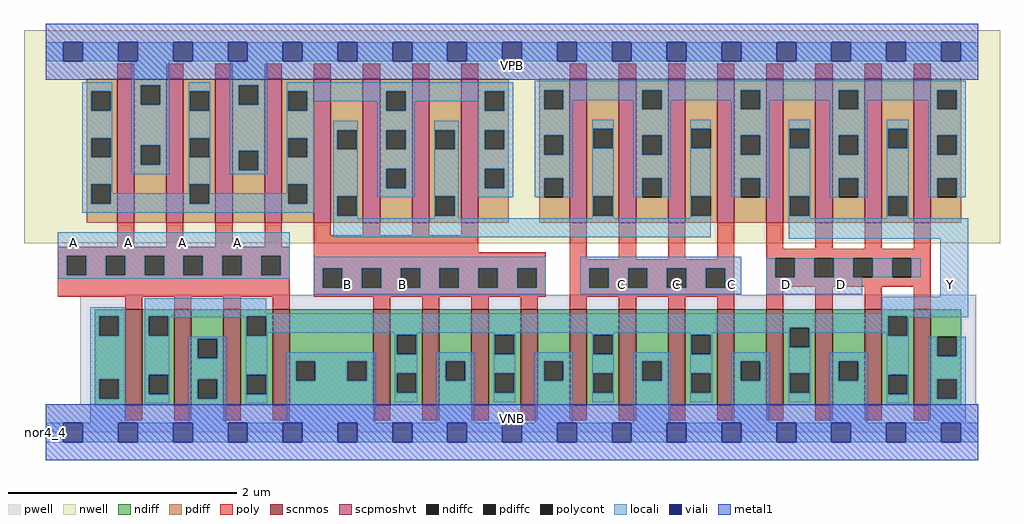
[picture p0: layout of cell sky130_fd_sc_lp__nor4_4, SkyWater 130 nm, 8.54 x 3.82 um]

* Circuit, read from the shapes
.subckt sky130_fd_sc_lp__nor4_4 A B C D VGND VNB VPB VPWR Y
XM1 Y A VGND VNB sky130_fd_pr__nfet_01v8 w=0.84 l=0.15 m=4
XM2 Y B VGND VNB sky130_fd_pr__nfet_01v8 w=0.84 l=0.15 m=4
XM3 Y C VGND VNB sky130_fd_pr__nfet_01v8 w=0.84 l=0.15 m=4
XM4 Y D VGND VNB sky130_fd_pr__nfet_01v8 w=0.84 l=0.15 m=4
XM5 VPWR A n1 VPB sky130_fd_pr__pfet_01v8_hvt w=1.26 l=0.15 m=4
XM6 n2 B n1 VPB sky130_fd_pr__pfet_01v8_hvt w=1.26 l=0.15 m=4
XM7 n2 C n3 VPB sky130_fd_pr__pfet_01v8_hvt w=1.26 l=0.15 m=4
XM8 Y D n3 VPB sky130_fd_pr__pfet_01v8_hvt w=1.26 l=0.15 m=4
.ends

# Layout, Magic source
magic
tech sky130A
magscale 1 2
<< nwell >>
rect -38 331 1670 704
<< pwell >>
rect 60 49 1628 241
rect 0 0 1632 49
<< scnmos >>
rect 139 47 169 215
rect 225 47 255 215
rect 311 47 341 215
rect 397 47 427 215
rect 573 47 603 215
rect 659 47 689 215
rect 745 47 775 215
rect 831 47 861 215
rect 917 47 947 215
rect 1003 47 1033 215
rect 1089 47 1119 215
rect 1175 47 1205 215
rect 1261 47 1291 215
rect 1347 47 1377 215
rect 1433 47 1463 215
rect 1519 47 1549 215
<< scpmoshvt >>
rect 125 367 155 619
rect 211 367 241 619
rect 297 367 327 619
rect 383 367 413 619
rect 469 367 499 619
rect 555 367 585 619
rect 641 367 671 619
rect 727 367 757 619
rect 917 367 947 619
rect 1003 367 1033 619
rect 1089 367 1119 619
rect 1175 367 1205 619
rect 1261 367 1291 619
rect 1347 367 1377 619
rect 1433 367 1463 619
rect 1519 367 1549 619
<< ndiff >>
rect 86 203 139 215
rect 86 169 94 203
rect 128 169 139 203
rect 86 93 139 169
rect 86 59 94 93
rect 128 59 139 93
rect 86 47 139 59
rect 169 203 225 215
rect 169 169 180 203
rect 214 169 225 203
rect 169 101 225 169
rect 169 67 180 101
rect 214 67 225 101
rect 169 47 225 67
rect 255 164 311 215
rect 255 130 266 164
rect 300 130 311 164
rect 255 93 311 130
rect 255 59 266 93
rect 300 59 311 93
rect 255 47 311 59
rect 341 203 397 215
rect 341 169 352 203
rect 386 169 397 203
rect 341 101 397 169
rect 341 67 352 101
rect 386 67 397 101
rect 341 47 397 67
rect 427 124 573 215
rect 427 90 438 124
rect 472 90 528 124
rect 562 90 573 124
rect 427 47 573 90
rect 603 171 659 215
rect 603 137 614 171
rect 648 137 659 171
rect 603 103 659 137
rect 603 69 614 103
rect 648 69 659 103
rect 603 47 659 69
rect 689 124 745 215
rect 689 90 700 124
rect 734 90 745 124
rect 689 47 745 90
rect 775 171 831 215
rect 775 137 786 171
rect 820 137 831 171
rect 775 103 831 137
rect 775 69 786 103
rect 820 69 831 103
rect 775 47 831 69
rect 861 124 917 215
rect 861 90 872 124
rect 906 90 917 124
rect 861 47 917 90
rect 947 171 1003 215
rect 947 137 958 171
rect 992 137 1003 171
rect 947 103 1003 137
rect 947 69 958 103
rect 992 69 1003 103
rect 947 47 1003 69
rect 1033 124 1089 215
rect 1033 90 1044 124
rect 1078 90 1089 124
rect 1033 47 1089 90
rect 1119 171 1175 215
rect 1119 137 1130 171
rect 1164 137 1175 171
rect 1119 103 1175 137
rect 1119 69 1130 103
rect 1164 69 1175 103
rect 1119 47 1175 69
rect 1205 124 1261 215
rect 1205 90 1216 124
rect 1250 90 1261 124
rect 1205 47 1261 90
rect 1291 183 1347 215
rect 1291 149 1302 183
rect 1336 149 1347 183
rect 1291 103 1347 149
rect 1291 69 1302 103
rect 1336 69 1347 103
rect 1291 47 1347 69
rect 1377 124 1433 215
rect 1377 90 1388 124
rect 1422 90 1433 124
rect 1377 47 1433 90
rect 1463 203 1519 215
rect 1463 169 1474 203
rect 1508 169 1519 203
rect 1463 101 1519 169
rect 1463 67 1474 101
rect 1508 67 1519 101
rect 1463 47 1519 67
rect 1549 167 1602 215
rect 1549 133 1560 167
rect 1594 133 1602 167
rect 1549 93 1602 133
rect 1549 59 1560 93
rect 1594 59 1602 93
rect 1549 47 1602 59
<< pdiff >>
rect 72 597 125 619
rect 72 563 80 597
rect 114 563 125 597
rect 72 515 125 563
rect 72 481 80 515
rect 114 481 125 515
rect 72 434 125 481
rect 72 400 80 434
rect 114 400 125 434
rect 72 367 125 400
rect 155 607 211 619
rect 155 573 166 607
rect 200 573 211 607
rect 155 502 211 573
rect 155 468 166 502
rect 200 468 211 502
rect 155 367 211 468
rect 241 597 297 619
rect 241 563 252 597
rect 286 563 297 597
rect 241 515 297 563
rect 241 481 252 515
rect 286 481 297 515
rect 241 434 297 481
rect 241 400 252 434
rect 286 400 297 434
rect 241 367 297 400
rect 327 607 383 619
rect 327 573 338 607
rect 372 573 383 607
rect 327 493 383 573
rect 327 459 338 493
rect 372 459 383 493
rect 327 367 383 459
rect 413 597 469 619
rect 413 563 424 597
rect 458 563 469 597
rect 413 515 469 563
rect 413 481 424 515
rect 458 481 469 515
rect 413 434 469 481
rect 413 400 424 434
rect 458 400 469 434
rect 413 367 469 400
rect 499 529 555 619
rect 499 495 510 529
rect 544 495 555 529
rect 499 413 555 495
rect 499 379 510 413
rect 544 379 555 413
rect 499 367 555 379
rect 585 597 641 619
rect 585 563 596 597
rect 630 563 641 597
rect 585 529 641 563
rect 585 495 596 529
rect 630 495 641 529
rect 585 461 641 495
rect 585 427 596 461
rect 630 427 641 461
rect 585 367 641 427
rect 671 529 727 619
rect 671 495 682 529
rect 716 495 727 529
rect 671 413 727 495
rect 671 379 682 413
rect 716 379 727 413
rect 671 367 727 379
rect 757 597 810 619
rect 757 563 768 597
rect 802 563 810 597
rect 757 529 810 563
rect 757 495 768 529
rect 802 495 810 529
rect 757 461 810 495
rect 757 427 768 461
rect 802 427 810 461
rect 757 367 810 427
rect 864 599 917 619
rect 864 565 872 599
rect 906 565 917 599
rect 864 520 917 565
rect 864 486 872 520
rect 906 486 917 520
rect 864 445 917 486
rect 864 411 872 445
rect 906 411 917 445
rect 864 367 917 411
rect 947 531 1003 619
rect 947 497 958 531
rect 992 497 1003 531
rect 947 413 1003 497
rect 947 379 958 413
rect 992 379 1003 413
rect 947 367 1003 379
rect 1033 599 1089 619
rect 1033 565 1044 599
rect 1078 565 1089 599
rect 1033 520 1089 565
rect 1033 486 1044 520
rect 1078 486 1089 520
rect 1033 445 1089 486
rect 1033 411 1044 445
rect 1078 411 1089 445
rect 1033 367 1089 411
rect 1119 531 1175 619
rect 1119 497 1130 531
rect 1164 497 1175 531
rect 1119 413 1175 497
rect 1119 379 1130 413
rect 1164 379 1175 413
rect 1119 367 1175 379
rect 1205 599 1261 619
rect 1205 565 1216 599
rect 1250 565 1261 599
rect 1205 520 1261 565
rect 1205 486 1216 520
rect 1250 486 1261 520
rect 1205 445 1261 486
rect 1205 411 1216 445
rect 1250 411 1261 445
rect 1205 367 1261 411
rect 1291 531 1347 619
rect 1291 497 1302 531
rect 1336 497 1347 531
rect 1291 413 1347 497
rect 1291 379 1302 413
rect 1336 379 1347 413
rect 1291 367 1347 379
rect 1377 599 1433 619
rect 1377 565 1388 599
rect 1422 565 1433 599
rect 1377 520 1433 565
rect 1377 486 1388 520
rect 1422 486 1433 520
rect 1377 445 1433 486
rect 1377 411 1388 445
rect 1422 411 1433 445
rect 1377 367 1433 411
rect 1463 531 1519 619
rect 1463 497 1474 531
rect 1508 497 1519 531
rect 1463 413 1519 497
rect 1463 379 1474 413
rect 1508 379 1519 413
rect 1463 367 1519 379
rect 1549 599 1602 619
rect 1549 565 1560 599
rect 1594 565 1602 599
rect 1549 520 1602 565
rect 1549 486 1560 520
rect 1594 486 1602 520
rect 1549 445 1602 486
rect 1549 411 1560 445
rect 1594 411 1602 445
rect 1549 367 1602 411
<< ndiffc >>
rect 94 169 128 203
rect 94 59 128 93
rect 180 169 214 203
rect 180 67 214 101
rect 266 130 300 164
rect 266 59 300 93
rect 352 169 386 203
rect 352 67 386 101
rect 438 90 472 124
rect 528 90 562 124
rect 614 137 648 171
rect 614 69 648 103
rect 700 90 734 124
rect 786 137 820 171
rect 786 69 820 103
rect 872 90 906 124
rect 958 137 992 171
rect 958 69 992 103
rect 1044 90 1078 124
rect 1130 137 1164 171
rect 1130 69 1164 103
rect 1216 90 1250 124
rect 1302 149 1336 183
rect 1302 69 1336 103
rect 1388 90 1422 124
rect 1474 169 1508 203
rect 1474 67 1508 101
rect 1560 133 1594 167
rect 1560 59 1594 93
<< pdiffc >>
rect 80 563 114 597
rect 80 481 114 515
rect 80 400 114 434
rect 166 573 200 607
rect 166 468 200 502
rect 252 563 286 597
rect 252 481 286 515
rect 252 400 286 434
rect 338 573 372 607
rect 338 459 372 493
rect 424 563 458 597
rect 424 481 458 515
rect 424 400 458 434
rect 510 495 544 529
rect 510 379 544 413
rect 596 563 630 597
rect 596 495 630 529
rect 596 427 630 461
rect 682 495 716 529
rect 682 379 716 413
rect 768 563 802 597
rect 768 495 802 529
rect 768 427 802 461
rect 872 565 906 599
rect 872 486 906 520
rect 872 411 906 445
rect 958 497 992 531
rect 958 379 992 413
rect 1044 565 1078 599
rect 1044 486 1078 520
rect 1044 411 1078 445
rect 1130 497 1164 531
rect 1130 379 1164 413
rect 1216 565 1250 599
rect 1216 486 1250 520
rect 1216 411 1250 445
rect 1302 497 1336 531
rect 1302 379 1336 413
rect 1388 565 1422 599
rect 1388 486 1422 520
rect 1388 411 1422 445
rect 1474 497 1508 531
rect 1474 379 1508 413
rect 1560 565 1594 599
rect 1560 486 1594 520
rect 1560 411 1594 445
<< poly >>
rect 125 619 155 645
rect 211 619 241 645
rect 297 619 327 645
rect 383 619 413 645
rect 469 619 499 645
rect 555 619 585 645
rect 641 619 671 645
rect 727 619 757 645
rect 917 619 947 645
rect 1003 619 1033 645
rect 1089 619 1119 645
rect 1175 619 1205 645
rect 1261 619 1291 645
rect 1347 619 1377 645
rect 1433 619 1463 645
rect 1519 619 1549 645
rect 125 325 155 367
rect 211 325 241 367
rect 297 325 327 367
rect 383 325 413 367
rect 469 345 499 367
rect 555 345 585 367
rect 641 345 671 367
rect 727 345 757 367
rect 21 309 427 325
rect 21 275 37 309
rect 71 275 105 309
rect 139 275 173 309
rect 207 275 241 309
rect 275 275 309 309
rect 343 275 377 309
rect 411 275 427 309
rect 21 237 427 275
rect 469 315 757 345
rect 469 287 875 315
rect 469 253 485 287
rect 519 253 553 287
rect 587 253 621 287
rect 655 253 689 287
rect 723 253 757 287
rect 791 253 825 287
rect 859 253 875 287
rect 469 237 875 253
rect 917 303 947 367
rect 1003 303 1033 367
rect 1089 303 1119 367
rect 1175 303 1205 367
rect 917 287 1205 303
rect 917 253 951 287
rect 985 253 1019 287
rect 1053 253 1087 287
rect 1121 253 1155 287
rect 1189 253 1205 287
rect 917 237 1205 253
rect 139 215 169 237
rect 225 215 255 237
rect 311 215 341 237
rect 397 215 427 237
rect 573 215 603 237
rect 659 215 689 237
rect 745 215 775 237
rect 831 215 861 237
rect 917 215 947 237
rect 1003 215 1033 237
rect 1089 215 1119 237
rect 1175 215 1205 237
rect 1261 321 1291 367
rect 1347 321 1377 367
rect 1433 321 1463 367
rect 1519 321 1549 367
rect 1261 305 1549 321
rect 1261 271 1277 305
rect 1311 271 1345 305
rect 1379 271 1413 305
rect 1447 271 1481 305
rect 1515 271 1549 305
rect 1261 255 1549 271
rect 1261 215 1291 255
rect 1347 215 1377 255
rect 1433 215 1463 255
rect 1519 215 1549 255
rect 139 21 169 47
rect 225 21 255 47
rect 311 21 341 47
rect 397 21 427 47
rect 573 21 603 47
rect 659 21 689 47
rect 745 21 775 47
rect 831 21 861 47
rect 917 21 947 47
rect 1003 21 1033 47
rect 1089 21 1119 47
rect 1175 21 1205 47
rect 1261 21 1291 47
rect 1347 21 1377 47
rect 1433 21 1463 47
rect 1519 21 1549 47
<< polycont >>
rect 37 275 71 309
rect 105 275 139 309
rect 173 275 207 309
rect 241 275 275 309
rect 309 275 343 309
rect 377 275 411 309
rect 485 253 519 287
rect 553 253 587 287
rect 621 253 655 287
rect 689 253 723 287
rect 757 253 791 287
rect 825 253 859 287
rect 951 253 985 287
rect 1019 253 1053 287
rect 1087 253 1121 287
rect 1155 253 1189 287
rect 1277 271 1311 305
rect 1345 271 1379 305
rect 1413 271 1447 305
rect 1481 271 1515 305
<< locali >>
rect 0 649 31 683
rect 65 649 127 683
rect 161 649 223 683
rect 257 649 319 683
rect 353 649 415 683
rect 449 649 511 683
rect 545 649 607 683
rect 641 649 703 683
rect 737 649 799 683
rect 833 649 895 683
rect 929 649 991 683
rect 1025 649 1087 683
rect 1121 649 1183 683
rect 1217 649 1279 683
rect 1313 649 1375 683
rect 1409 649 1471 683
rect 1505 649 1567 683
rect 1601 649 1632 683
rect 64 597 116 613
rect 64 563 80 597
rect 114 563 116 597
rect 64 515 116 563
rect 64 481 80 515
rect 114 481 116 515
rect 64 434 116 481
rect 150 607 216 649
rect 150 573 166 607
rect 200 573 216 607
rect 150 502 216 573
rect 150 468 166 502
rect 200 468 216 502
rect 150 452 216 468
rect 250 597 288 613
rect 250 563 252 597
rect 286 563 288 597
rect 250 515 288 563
rect 250 481 252 515
rect 286 481 288 515
rect 64 400 80 434
rect 114 418 116 434
rect 250 434 288 481
rect 322 607 388 649
rect 322 573 338 607
rect 372 573 388 607
rect 322 493 388 573
rect 322 459 338 493
rect 372 459 388 493
rect 322 452 388 459
rect 422 597 818 613
rect 422 563 424 597
rect 458 579 596 597
rect 458 563 469 579
rect 422 515 469 563
rect 580 563 596 579
rect 630 579 768 597
rect 630 563 646 579
rect 422 481 424 515
rect 458 481 469 515
rect 250 418 252 434
rect 114 400 252 418
rect 286 418 288 434
rect 422 434 469 481
rect 422 418 424 434
rect 286 400 424 418
rect 458 400 469 434
rect 64 384 469 400
rect 503 529 546 545
rect 503 495 510 529
rect 544 495 546 529
rect 503 413 546 495
rect 503 379 510 413
rect 544 379 546 413
rect 580 529 646 563
rect 757 563 768 579
rect 802 563 818 597
rect 580 495 596 529
rect 630 495 646 529
rect 580 461 646 495
rect 580 427 596 461
rect 630 427 646 461
rect 580 411 646 427
rect 680 529 723 545
rect 680 495 682 529
rect 716 495 723 529
rect 680 413 723 495
rect 503 375 546 379
rect 680 379 682 413
rect 716 379 723 413
rect 757 529 818 563
rect 757 495 768 529
rect 802 495 818 529
rect 757 461 818 495
rect 757 427 768 461
rect 802 427 818 461
rect 757 411 818 427
rect 856 599 1610 615
rect 856 565 872 599
rect 906 581 1044 599
rect 906 565 922 581
rect 856 520 922 565
rect 1028 565 1044 581
rect 1078 581 1216 599
rect 1078 565 1094 581
rect 856 486 872 520
rect 906 486 922 520
rect 856 445 922 486
rect 856 411 872 445
rect 906 411 922 445
rect 956 531 994 547
rect 956 497 958 531
rect 992 497 994 531
rect 956 413 994 497
rect 680 375 723 379
rect 956 379 958 413
rect 992 379 994 413
rect 1028 520 1094 565
rect 1200 565 1216 581
rect 1250 581 1388 599
rect 1250 565 1266 581
rect 1028 486 1044 520
rect 1078 486 1094 520
rect 1028 445 1094 486
rect 1028 411 1044 445
rect 1078 411 1094 445
rect 1128 531 1164 547
rect 1128 497 1130 531
rect 1128 413 1164 497
rect 956 375 994 379
rect 1128 379 1130 413
rect 1200 520 1266 565
rect 1372 565 1388 581
rect 1422 581 1560 599
rect 1422 565 1438 581
rect 1200 486 1216 520
rect 1250 486 1266 520
rect 1200 445 1266 486
rect 1200 411 1216 445
rect 1250 411 1266 445
rect 1300 531 1338 547
rect 1300 497 1302 531
rect 1336 497 1338 531
rect 1300 413 1338 497
rect 1128 375 1164 379
rect 21 309 427 350
rect 503 341 1164 375
rect 1300 379 1302 413
rect 1336 379 1338 413
rect 1372 520 1438 565
rect 1544 565 1560 581
rect 1594 565 1610 599
rect 1372 486 1388 520
rect 1422 486 1438 520
rect 1372 445 1438 486
rect 1372 411 1388 445
rect 1422 411 1438 445
rect 1472 531 1510 547
rect 1472 497 1474 531
rect 1508 497 1510 531
rect 1472 413 1510 497
rect 1300 375 1338 379
rect 1472 379 1474 413
rect 1508 379 1510 413
rect 1544 520 1610 565
rect 1544 486 1560 520
rect 1594 486 1610 520
rect 1544 445 1610 486
rect 1544 411 1560 445
rect 1594 411 1610 445
rect 1472 375 1510 379
rect 1300 339 1614 375
rect 21 275 37 309
rect 71 275 105 309
rect 139 275 173 309
rect 207 275 241 309
rect 275 275 309 309
rect 343 275 377 309
rect 411 275 427 309
rect 21 269 427 275
rect 469 287 875 307
rect 469 253 485 287
rect 519 253 553 287
rect 587 253 621 287
rect 655 253 689 287
rect 723 253 757 287
rect 791 253 825 287
rect 859 253 875 287
rect 469 242 875 253
rect 935 287 1217 307
rect 935 253 951 287
rect 985 253 1019 287
rect 1053 253 1087 287
rect 1121 253 1155 287
rect 1189 253 1217 287
rect 935 242 1217 253
rect 1261 271 1277 305
rect 1311 271 1345 305
rect 1379 271 1413 305
rect 1447 271 1481 305
rect 1515 271 1531 305
rect 1261 242 1429 271
rect 1565 237 1614 339
rect 78 203 139 219
rect 78 169 94 203
rect 128 169 139 203
rect 78 93 139 169
rect 78 59 94 93
rect 128 59 139 93
rect 78 17 139 59
rect 173 208 386 235
rect 1463 208 1614 237
rect 173 203 1614 208
rect 173 169 180 203
rect 214 201 352 203
rect 214 169 216 201
rect 173 101 216 169
rect 350 169 352 201
rect 386 183 1474 203
rect 386 174 1302 183
rect 386 169 388 174
rect 173 67 180 101
rect 214 67 216 101
rect 173 51 216 67
rect 250 164 316 167
rect 250 130 266 164
rect 300 130 316 164
rect 250 93 316 130
rect 250 59 266 93
rect 300 59 316 93
rect 250 17 316 59
rect 350 101 388 169
rect 611 171 650 174
rect 350 67 352 101
rect 386 67 388 101
rect 350 51 388 67
rect 422 124 577 140
rect 422 90 438 124
rect 472 90 528 124
rect 562 90 577 124
rect 422 17 577 90
rect 611 137 614 171
rect 648 137 650 171
rect 784 171 822 174
rect 611 103 650 137
rect 611 69 614 103
rect 648 69 650 103
rect 611 53 650 69
rect 684 124 750 140
rect 684 90 700 124
rect 734 90 750 124
rect 684 17 750 90
rect 784 137 786 171
rect 820 137 822 171
rect 956 171 994 174
rect 784 103 822 137
rect 784 69 786 103
rect 820 69 822 103
rect 784 53 822 69
rect 856 124 922 140
rect 856 90 872 124
rect 906 90 922 124
rect 856 17 922 90
rect 956 137 958 171
rect 992 137 994 171
rect 1128 171 1166 174
rect 956 103 994 137
rect 956 69 958 103
rect 992 69 994 103
rect 956 53 994 69
rect 1028 124 1094 140
rect 1028 90 1044 124
rect 1078 90 1094 124
rect 1028 17 1094 90
rect 1128 137 1130 171
rect 1164 137 1166 171
rect 1300 149 1302 174
rect 1336 174 1474 183
rect 1336 149 1338 174
rect 1128 103 1166 137
rect 1128 69 1130 103
rect 1164 69 1166 103
rect 1128 53 1166 69
rect 1200 124 1266 140
rect 1200 90 1216 124
rect 1250 90 1266 124
rect 1200 17 1266 90
rect 1300 103 1338 149
rect 1472 169 1474 174
rect 1508 201 1614 203
rect 1508 169 1510 201
rect 1300 69 1302 103
rect 1336 69 1338 103
rect 1300 53 1338 69
rect 1372 124 1438 140
rect 1372 90 1388 124
rect 1422 90 1438 124
rect 1372 17 1438 90
rect 1472 101 1510 169
rect 1472 67 1474 101
rect 1508 67 1510 101
rect 1472 51 1510 67
rect 1544 133 1560 167
rect 1594 133 1610 167
rect 1544 93 1610 133
rect 1544 59 1560 93
rect 1594 59 1610 93
rect 1544 17 1610 59
rect 0 -17 31 17
rect 65 -17 127 17
rect 161 -17 223 17
rect 257 -17 319 17
rect 353 -17 415 17
rect 449 -17 511 17
rect 545 -17 607 17
rect 641 -17 703 17
rect 737 -17 799 17
rect 833 -17 895 17
rect 929 -17 991 17
rect 1025 -17 1087 17
rect 1121 -17 1183 17
rect 1217 -17 1279 17
rect 1313 -17 1375 17
rect 1409 -17 1471 17
rect 1505 -17 1567 17
rect 1601 -17 1632 17
<< viali >>
rect 31 649 65 683
rect 127 649 161 683
rect 223 649 257 683
rect 319 649 353 683
rect 415 649 449 683
rect 511 649 545 683
rect 607 649 641 683
rect 703 649 737 683
rect 799 649 833 683
rect 895 649 929 683
rect 991 649 1025 683
rect 1087 649 1121 683
rect 1183 649 1217 683
rect 1279 649 1313 683
rect 1375 649 1409 683
rect 1471 649 1505 683
rect 1567 649 1601 683
rect 31 -17 65 17
rect 127 -17 161 17
rect 223 -17 257 17
rect 319 -17 353 17
rect 415 -17 449 17
rect 511 -17 545 17
rect 607 -17 641 17
rect 703 -17 737 17
rect 799 -17 833 17
rect 895 -17 929 17
rect 991 -17 1025 17
rect 1087 -17 1121 17
rect 1183 -17 1217 17
rect 1279 -17 1313 17
rect 1375 -17 1409 17
rect 1471 -17 1505 17
rect 1567 -17 1601 17
<< metal1 >>
rect 0 683 1632 715
rect 0 649 31 683
rect 65 649 127 683
rect 161 649 223 683
rect 257 649 319 683
rect 353 649 415 683
rect 449 649 511 683
rect 545 649 607 683
rect 641 649 703 683
rect 737 649 799 683
rect 833 649 895 683
rect 929 649 991 683
rect 1025 649 1087 683
rect 1121 649 1183 683
rect 1217 649 1279 683
rect 1313 649 1375 683
rect 1409 649 1471 683
rect 1505 649 1567 683
rect 1601 649 1632 683
rect 0 617 1632 649
rect 0 17 1632 49
rect 0 -17 31 17
rect 65 -17 127 17
rect 161 -17 223 17
rect 257 -17 319 17
rect 353 -17 415 17
rect 449 -17 511 17
rect 545 -17 607 17
rect 641 -17 703 17
rect 737 -17 799 17
rect 833 -17 895 17
rect 929 -17 991 17
rect 1025 -17 1087 17
rect 1121 -17 1183 17
rect 1217 -17 1279 17
rect 1313 -17 1375 17
rect 1409 -17 1471 17
rect 1505 -17 1567 17
rect 1601 -17 1632 17
rect 0 -49 1632 -17
<< labels >>
flabel pwell s 0 0 1632 49 0 FreeSans 200 0 0 0 VNB
port 6 nsew ground bidirectional
flabel nwell s 0 617 1632 666 0 FreeSans 200 0 0 0 VPB
port 7 nsew power bidirectional
rlabel comment s 0 0 0 0 4 nor4_4
flabel metal1 s 0 617 1632 666 0 FreeSans 340 0 0 0 VPWR
port 8 nsew power bidirectional
flabel metal1 s 0 0 1632 49 0 FreeSans 340 0 0 0 VGND
port 5 nsew ground bidirectional
flabel locali s 31 316 65 350 0 FreeSans 340 0 0 0 A
port 1 nsew signal input
flabel locali s 127 316 161 350 0 FreeSans 340 0 0 0 A
port 1 nsew signal input
flabel locali s 223 316 257 350 0 FreeSans 340 0 0 0 A
port 1 nsew signal input
flabel locali s 319 316 353 350 0 FreeSans 340 0 0 0 A
port 1 nsew signal input
flabel locali s 511 242 545 276 0 FreeSans 340 0 0 0 B
port 2 nsew signal input
flabel locali s 607 242 641 276 0 FreeSans 340 0 0 0 B
port 2 nsew signal input
flabel locali s 991 242 1025 276 0 FreeSans 340 0 0 0 C
port 3 nsew signal input
flabel locali s 1087 242 1121 276 0 FreeSans 340 0 0 0 C
port 3 nsew signal input
flabel locali s 1183 242 1217 276 0 FreeSans 340 0 0 0 C
port 3 nsew signal input
flabel locali s 1279 242 1313 276 0 FreeSans 340 0 0 0 D
port 4 nsew signal input
flabel locali s 1375 242 1409 276 0 FreeSans 340 0 0 0 D
port 4 nsew signal input
flabel locali s 1567 242 1601 276 0 FreeSans 340 0 0 0 Y
port 9 nsew signal output
<< properties >>
string LEFsite unit
string LEFclass CORE
string FIXED_BBOX 0 0 1632 666
string GDS_FILE $PDKPATH/libs.ref/sky130_fd_sc_lp/gds/sky130_fd_sc_lp.gds
string LEFsymmetry X Y R90
string GDS_END 4173264
string GDS_START 4159276
<< end >>
